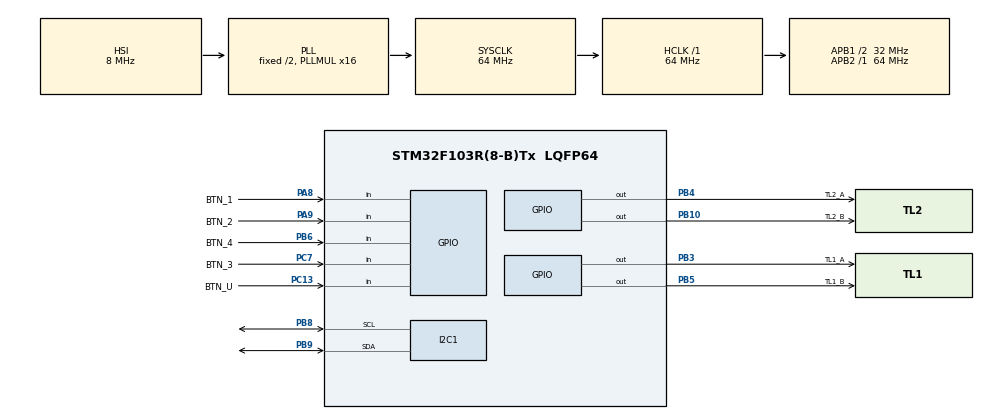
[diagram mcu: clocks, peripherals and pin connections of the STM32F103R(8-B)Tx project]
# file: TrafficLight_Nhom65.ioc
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Mcu.Family=STM32F1
Mcu.Name=STM32F103R(8-B)Tx
Mcu.Package=LQFP64
NVIC.PriorityGroup=NVIC_PRIORITYGROUP_4
NVIC.TIM2_IRQn=true\:0\:0\:false\:false\:true\:true\:true
PA13.GPIO_Label=TMS
PA13.Mode=Serial_Wire
PA13.Signal=SYS_JTMS-SWDIO
PA14.GPIO_Label=TCK
PA14.Mode=Serial_Wire
PA14.Signal=SYS_JTCK-SWCLK
PA8.GPIO_Label=BTN_1
PA8.GPIO_PuPd=GPIO_PULLUP
PA8.Signal=GPIO_Input
PA9.GPIO_Label=BTN_2
PA9.GPIO_PuPd=GPIO_PULLUP
PA9.Signal=GPIO_Input
PB10.GPIO_Label=TL2_B
PB10.Signal=GPIO_Output
PB3.GPIO_Label=TL1_A
PB3.Signal=GPIO_Output
PB4.GPIO_Label=TL2_A
PB4.Signal=GPIO_Output
PB5.GPIO_Label=TL1_B
PB5.Signal=GPIO_Output
PB6.GPIO_Label=BTN_4
PB6.GPIO_PuPd=GPIO_PULLUP
PB6.Signal=GPIO_Input
PB8.Mode=I2C
PB8.Signal=I2C1_SCL
PB9.Mode=I2C
PB9.Signal=I2C1_SDA
PC13-TAMPER-RTC.GPIO_Label=BTN_U
PC13-TAMPER-RTC.GPIO_PuPd=GPIO_PULLUP
PC13-TAMPER-RTC.Signal=GPIO_Input
PC7.GPIO_Label=BTN_3
PC7.GPIO_PuPd=GPIO_PULLUP
PC7.Signal=GPIO_Input
ProjectManager.HeapSize=0x200
ProjectManager.StackSize=0x400
ProjectManager.TargetToolchain=STM32CubeIDE
RCC.AHBFreq_Value=64000000
RCC.APB1CLKDivider=RCC_HCLK_DIV2
RCC.APB1Freq_Value=32000000
RCC.APB1TimFreq_Value=64000000
RCC.APB2Freq_Value=64000000
RCC.APB2TimFreq_Value=64000000
RCC.HCLKFreq_Value=64000000
RCC.PLLMUL=RCC_PLL_MUL16
RCC.RTCClockSelection=RCC_RTCCLKSOURCE_LSE
RCC.SYSCLKFreq_VALUE=64000000
RCC.SYSCLKSource=RCC_SYSCLKSOURCE_PLLCLK
RCC.USBFreq_Value=64000000
TIM2.Period=99
TIM2.Prescaler=6399
VP_TIM2_VS_ClockSourceINT.Mode=Internal
board=NUCLEO-F103RB

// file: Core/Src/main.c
/* USER CODE BEGIN Header */
/**
  ******************************************************************************
  * @file           : main.c
  * @brief          : Main program body
  ******************************************************************************
  * @attention
  *
  * <h2><center>&copy; Copyright (c) 2026 STMicroelectronics.
  * All rights reserved.</center></h2>
  *
  * This software component is licensed by ST under BSD 3-Clause license,
  * the "License"; You may not use this file except in compliance with the
  * License. You may obtain a copy of the License at:
  *                        opensource.org/licenses/BSD-3-Clause
  *
  ******************************************************************************
  */
/* USER CODE END Header */
#include "main.h"

/* USER CODE BEGIN Includes */
#include "scheduler.h"
#include "software_timer.h"
#include "button.h"
#include "fsm_automatic.h"
#include "fsm_manual.h"
#include "fsm_tuning.h"
#include "dht20.h"
#include "lcd.h"
/* USER CODE END Includes */

I2C_HandleTypeDef hi2c1;

TIM_HandleTypeDef htim2;

void SystemClock_Config(void);
static void MX_GPIO_Init(void);
static void MX_I2C1_Init(void);
static void MX_TIM2_Init(void);

int main(void)
{

  /* MCU Configuration--------------------------------------------------------*/

  /* Reset of all peripherals, Initializes the Flash interface and the Systick. */
  HAL_Init();

  /* Configure the system clock */
  SystemClock_Config();

  /* Initialize all configured peripherals */
  MX_GPIO_Init();
  MX_I2C1_Init();
  MX_TIM2_Init();
  /* USER CODE BEGIN 2 */
  SCH_Init();
  lcd_init();
  dht20_init();

  SCH_Add_Task(button_reading,    0,  10);   // Quét và chống dội 5 nút mỗi 10 ms
  SCH_Add_Task(fsm_automatic_run, 0,  10);   // Chạy chế độ tự động mỗi 10 ms
  SCH_Add_Task(fsm_manual_run,    0,  10);   // Chạy chế độ chỉnh tay mỗi 10 ms
  SCH_Add_Task(fsm_tuning_run,    0,  10);   // Chạy chế độ chỉnh thời gian mỗi 10 ms
  SCH_Add_Task(dht20_task,        10, 100);  // Đọc cảm biến DHT20 mỗi 100 ms
  SCH_Add_Task(lcd_display,       20, 50);   // Cập nhật màn hình LCD mỗi 50 ms

  HAL_TIM_Base_Start_IT(&htim2);
  /* USER CODE END 2 */

  /* Infinite loop */
  /* USER CODE BEGIN WHILE */
  while (1)
  {
	SCH_Dispatch_Tasks();
    /* USER CODE END WHILE */

  }
}

void SystemClock_Config(void)
{
  RCC_OscInitTypeDef RCC_OscInitStruct = {0};
  RCC_ClkInitTypeDef RCC_ClkInitStruct = {0};

  /** Initializes the RCC Oscillators according to the specified parameters
  * in the RCC_OscInitTypeDef structure.
  */
  RCC_OscInitStruct.OscillatorType = RCC_OSCILLATORTYPE_HSI;
  RCC_OscInitStruct.HSIState = RCC_HSI_ON;
  RCC_OscInitStruct.HSICalibrationValue = RCC_HSICALIBRATION_DEFAULT;
  RCC_OscInitStruct.PLL.PLLState = RCC_PLL_ON;
  RCC_OscInitStruct.PLL.PLLSource = RCC_PLLSOURCE_HSI_DIV2;
  RCC_OscInitStruct.PLL.PLLMUL = RCC_PLL_MUL16;
  if (HAL_RCC_OscConfig(&RCC_OscInitStruct) != HAL_OK)
  {
    Error_Handler();
  }
  /** Initializes the CPU, AHB and APB buses clocks
  */
  RCC_ClkInitStruct.ClockType = RCC_CLOCKTYPE_HCLK|RCC_CLOCKTYPE_SYSCLK
                              |RCC_CLOCKTYPE_PCLK1|RCC_CLOCKTYPE_PCLK2;
  RCC_ClkInitStruct.SYSCLKSource = RCC_SYSCLKSOURCE_PLLCLK;
  RCC_ClkInitStruct.AHBCLKDivider = RCC_SYSCLK_DIV1;
  RCC_ClkInitStruct.APB1CLKDivider = RCC_HCLK_DIV2;
  RCC_ClkInitStruct.APB2CLKDivider = RCC_HCLK_DIV1;

  if (HAL_RCC_ClockConfig(&RCC_ClkInitStruct, FLASH_LATENCY_2) != HAL_OK)
  {
    Error_Handler();
  }
}

static void MX_I2C1_Init(void)
{

  hi2c1.Instance = I2C1;
  hi2c1.Init.ClockSpeed = 100000;
  hi2c1.Init.DutyCycle = I2C_DUTYCYCLE_2;
  hi2c1.Init.OwnAddress1 = 0;
  hi2c1.Init.AddressingMode = I2C_ADDRESSINGMODE_7BIT;
  hi2c1.Init.DualAddressMode = I2C_DUALADDRESS_DISABLE;
  hi2c1.Init.OwnAddress2 = 0;
  hi2c1.Init.GeneralCallMode = I2C_GENERALCALL_DISABLE;
  hi2c1.Init.NoStretchMode = I2C_NOSTRETCH_DISABLE;
  if (HAL_I2C_Init(&hi2c1) != HAL_OK)
  {
    Error_Handler();
  }

}

static void MX_TIM2_Init(void)
{

  TIM_ClockConfigTypeDef sClockSourceConfig = {0};
  TIM_MasterConfigTypeDef sMasterConfig = {0};

  htim2.Instance = TIM2;
  htim2.Init.Prescaler = 6399;
  htim2.Init.CounterMode = TIM_COUNTERMODE_UP;
  htim2.Init.Period = 99;
  htim2.Init.ClockDivision = TIM_CLOCKDIVISION_DIV1;
  htim2.Init.AutoReloadPreload = TIM_AUTORELOAD_PRELOAD_DISABLE;
  if (HAL_TIM_Base_Init(&htim2) != HAL_OK)
  {
    Error_Handler();
  }
  sClockSourceConfig.ClockSource = TIM_CLOCKSOURCE_INTERNAL;
  if (HAL_TIM_ConfigClockSource(&htim2, &sClockSourceConfig) != HAL_OK)
  {
    Error_Handler();
  }
  sMasterConfig.MasterOutputTrigger = TIM_TRGO_RESET;
  sMasterConfig.MasterSlaveMode = TIM_MASTERSLAVEMODE_DISABLE;
  if (HAL_TIMEx_MasterConfigSynchronization(&htim2, &sMasterConfig) != HAL_OK)
  {
    Error_Handler();
  }

}

static void MX_GPIO_Init(void)
{
  GPIO_InitTypeDef GPIO_InitStruct = {0};

  /* GPIO Ports Clock Enable */
  __HAL_RCC_GPIOC_CLK_ENABLE();
  __HAL_RCC_GPIOB_CLK_ENABLE();
  __HAL_RCC_GPIOA_CLK_ENABLE();

  /*Configure GPIO pin Output Level */
  HAL_GPIO_WritePin(GPIOB, TL2_B_Pin|TL1_A_Pin|TL2_A_Pin|TL1_B_Pin, GPIO_PIN_RESET);

  /*Configure GPIO pins : BTN_U_Pin BTN_3_Pin */
  GPIO_InitStruct.Pin = BTN_U_Pin|BTN_3_Pin;
  GPIO_InitStruct.Mode = GPIO_MODE_INPUT;
  GPIO_InitStruct.Pull = GPIO_PULLUP;
  HAL_GPIO_Init(GPIOC, &GPIO_InitStruct);

  /*Configure GPIO pins : TL2_B_Pin TL1_A_Pin TL2_A_Pin TL1_B_Pin */
  GPIO_InitStruct.Pin = TL2_B_Pin|TL1_A_Pin|TL2_A_Pin|TL1_B_Pin;
  GPIO_InitStruct.Mode = GPIO_MODE_OUTPUT_PP;
  GPIO_InitStruct.Pull = GPIO_NOPULL;
  GPIO_InitStruct.Speed = GPIO_SPEED_FREQ_LOW;
  HAL_GPIO_Init(GPIOB, &GPIO_InitStruct);

  /*Configure GPIO pins : BTN_1_Pin BTN_2_Pin */
  GPIO_InitStruct.Pin = BTN_1_Pin|BTN_2_Pin;
  GPIO_InitStruct.Mode = GPIO_MODE_INPUT;
  GPIO_InitStruct.Pull = GPIO_PULLUP;
  HAL_GPIO_Init(GPIOA, &GPIO_InitStruct);

  /*Configure GPIO pin : BTN_4_Pin */
  GPIO_InitStruct.Pin = BTN_4_Pin;
  GPIO_InitStruct.Mode = GPIO_MODE_INPUT;
  GPIO_InitStruct.Pull = GPIO_PULLUP;
  HAL_GPIO_Init(BTN_4_GPIO_Port, &GPIO_InitStruct);

}

/* USER CODE BEGIN 4 */
void HAL_TIM_PeriodElapsedCallback(TIM_HandleTypeDef *htim) {
  if (htim->Instance == TIM2) {
    timerRun();
    SCH_Update();
  }
}
/* USER CODE END 4 */

void Error_Handler(void)
{
  __disable_irq();
  while (1)
  {
  }
}

/************************ (C) COPYRIGHT STMicroelectronics *****END OF FILE****/
